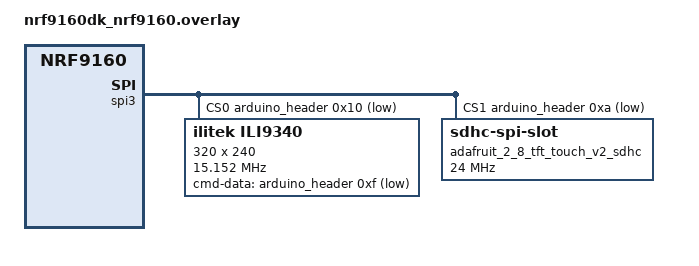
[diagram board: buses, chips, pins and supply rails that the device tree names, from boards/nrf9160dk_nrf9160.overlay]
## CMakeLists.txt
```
cmake_minimum_required(VERSION 3.20.0)
find_package(Zephyr REQUIRED HINTS $ENV{ZEPHYR_BASE})

project(pwm_basic)

target_sources(app PRIVATE src/main.c)
```

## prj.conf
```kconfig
#Logging configurations
CONFIG_LOG=y
CONFIG_PWM_LOG_LEVEL_DBG=y
CONFIG_LOG_PRINTK=y
CONFIG_LOG_MODE_IMMEDIATE=y
CONFIG_STDOUT_CONSOLE=y
CONFIG_PRINTK=y

# PWM and LED configurations
CONFIG_PWM=y
CONFIG_LED=y
CONFIG_LED_PWM=y

# DK library configurations
CONFIG_DK_LIBRARY=y
```

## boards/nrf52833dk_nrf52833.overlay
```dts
/* STEP 1.2 -  Add a pwm_led instance and change the polarity */
/{
    pwmleds {
        compatible = "pwm-leds";
        pwm_led0: pwm_led_0 {
            pwms = <&pwm0 0 PWM_MSEC(20) PWM_POLARITY_NORMAL>;
        };
    };
};

/* STEP 1.3 - Add your own custom pwm0 instance */
&pwm0 {
    status = "okay";
    pinctrl-0 = <&pwm0_custom>;
    pinctrl-1 = <&pwm0_csleep>;
    pinctrl-names = "default", "sleep";
};

/* STEP 1.4 - Configure which pins your custom pwm0 instance should use */
&pinctrl {
    pwm0_custom: pwm0_custom {
        group1 {
            psels = <NRF_PSEL(PWM_OUT0, 0, 13)>;
            nordic,invert;
        };
    };

    pwm0_csleep: pwm0_csleep {
        group1 {
            psels = <NRF_PSEL(PWM_OUT0, 0, 13)>;
            low-power-enable;
        };
    };
};

/* STEP 5.2 - Add the servo device  */
/ {
    servo: servo {
        compatible = "pwm-servo";
        pwms = <&pwm1 0 PWM_MSEC(20) PWM_POLARITY_NORMAL>;
        min-pulse = <PWM_USEC(1000)>;
        max-pulse = <PWM_USEC(2000)>;
    };
};

/* STEP 5.3 - Configure which pins pwm1 should use */
&pwm1 {
    status = "okay";
    pinctrl-0 = <&pwm1_custom_motor>;
    pinctrl-1 = <&pwm1_csleep_motor>;
    pinctrl-names = "default", "sleep";
};

&pinctrl {
    pwm1_custom_motor: pwm1_custom_motor {
        group1 {
            psels = <NRF_PSEL(PWM_OUT0, 0, 3)>;
            nordic,invert;
        };
    };

    pwm1_csleep_motor: pwm1_csleep_motor {
        group1 {
            psels = <NRF_PSEL(PWM_OUT0, 0, 3)>;
            low-power-enable;
        };
    };
};
```

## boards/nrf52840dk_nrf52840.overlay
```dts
/* STEP 1.2 -  Add a pwm_led instance and change the polarity */
/{
    pwmleds {
        compatible = "pwm-leds";
        pwm_led0: pwm_led_0 {
            pwms = <&pwm0 0 PWM_MSEC(20) PWM_POLARITY_NORMAL>;
        };
    };
};

/* STEP 1.3 - Add your own custom pwm0 instance */
&pwm0 {
    status = "okay";
    pinctrl-0 = <&pwm0_custom>;
    pinctrl-1 = <&pwm0_csleep>;
    pinctrl-names = "default", "sleep";
};

/* STEP 1.4 - Configure which pins your custom pwm0 instance should use */
&pinctrl {
    pwm0_custom: pwm0_custom {
        group1 {
            psels = <NRF_PSEL(PWM_OUT0, 0, 13)>;
            nordic,invert;
        };
    };

    pwm0_csleep: pwm0_csleep {
        group1 {
            psels = <NRF_PSEL(PWM_OUT0, 0, 13)>;
            low-power-enable;
        };
    };
};

/* STEP 5.2 - Add the servo device  */
/ {
    servo: servo {
        compatible = "pwm-servo";
        pwms = <&pwm1 0 PWM_MSEC(20) PWM_POLARITY_NORMAL>;
        min-pulse = <PWM_USEC(1000)>;
        max-pulse = <PWM_USEC(2000)>;
    };
};

/* STEP 5.3 - Configure which pins pwm1 should use */
&pwm1 {
    status = "okay";
    pinctrl-0 = <&pwm1_custom_motor>;
    pinctrl-1 = <&pwm1_csleep_motor>;
    pinctrl-names = "default", "sleep";
};

&pinctrl {
    pwm1_custom_motor: pwm1_custom_motor {
        group1 {
            psels = <NRF_PSEL(PWM_OUT0, 0, 3)>;
            nordic,invert;
        };
    };

    pwm1_csleep_motor: pwm1_csleep_motor {
        group1 {
            psels = <NRF_PSEL(PWM_OUT0, 0, 3)>;
            low-power-enable;
        };
    };
};
```

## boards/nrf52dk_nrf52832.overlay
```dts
/* STEP 1.2 -  Add a pwm_led instance and change the polarity */
/{
    pwmleds {
        compatible = "pwm-leds";
        pwm_led0: pwm_led_0 {
            pwms = <&pwm0 0 PWM_MSEC(20) PWM_POLARITY_NORMAL>;
        };
    };
};

/* STEP 1.3 - Add your own custom pwm0 instance */
&pwm0 {
    status = "okay";
    pinctrl-0 = <&pwm0_custom>;
    pinctrl-1 = <&pwm0_csleep>;
    pinctrl-names = "default", "sleep";
};

/* STEP 1.4 - Configure which pins your custom pwm0 instance should use */
/* STEP 4.1 - Configure pwm0 to drive the GPIO pin for LED 1 */
&pinctrl {
    pwm0_custom: pwm0_custom {
        group1 {
            psels = <NRF_PSEL(PWM_OUT0, 0, 17)>;
            nordic,invert;
        };
    };

    pwm0_csleep: pwm0_csleep {
        group1 {
            psels = <NRF_PSEL(PWM_OUT0, 0, 17)>;
            low-power-enable;
        };
    };
};

/* STEP 5.2 - Add the servo device */
/ {
    servo: servo {
        compatible = "pwm-servo";
        pwms = <&pwm1 0 PWM_MSEC(20) PWM_POLARITY_NORMAL>;
        min-pulse = <PWM_USEC(1000)>;
        max-pulse = <PWM_USEC(2000)>;
    };
};

/* STEP 5.3 - Configure which pins pwm1 should use */
&pwm1 {
    status = "okay";
    pinctrl-0 = <&pwm1_custom_motor>;
    pinctrl-1 = <&pwm1_csleep_motor>;
    pinctrl-names = "default", "sleep";
};

&pinctrl {
    pwm1_custom_motor: pwm1_custom_motor {
        group1 {
            psels = <NRF_PSEL(PWM_OUT0, 0, 3)>;
            nordic,invert;
        };
    };

    pwm1_csleep_motor: pwm1_csleep_motor {
        group1 {
            psels = <NRF_PSEL(PWM_OUT0, 0, 3)>;
            low-power-enable;
        };
    };
};
```

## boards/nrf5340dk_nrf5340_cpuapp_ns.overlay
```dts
/* STEP 1.2 -  Add a pwm_led instance and change the polarity */
/{
    pwmleds {
        compatible = "pwm-leds";
        pwm_led0: pwm_led_0 {
            pwms = <&pwm0 0 PWM_MSEC(20) PWM_POLARITY_NORMAL>;
        };
    };
};
  
/* STEP 1.3 - Add your own custom pwm0 instance */
&pwm0 {
    status = "okay";
    pinctrl-0 = <&pwm0_custom>;
    pinctrl-1 = <&pwm0_csleep>;
    pinctrl-names = "default", "sleep";
};

/* STEP 1.4 - Configure which pins your custom pwm0 instance should use */
/* STEP 4.1 - Configure pwm0 to drive the GPIO pin for LED 1 */
&pinctrl {
    pwm0_custom: pwm0_custom {
        group1 {
            psels = <NRF_PSEL(PWM_OUT0, 0, 28)>;
            nordic,invert;
        };
    };

    pwm0_csleep: pwm0_csleep {
        group1 {
            psels = <NRF_PSEL(PWM_OUT0, 0, 28)>;
            low-power-enable;
        };
    };
};

/* STEP 5.2 - Add the servo device */
/ {
    servo: servo {
        compatible = "pwm-servo";
        pwms = <&pwm1 0 PWM_MSEC(20) PWM_POLARITY_NORMAL>;
        min-pulse = <PWM_USEC(1000)>;
        max-pulse = <PWM_USEC(2000)>;
    };
};

/* STEP 5.3 - Configure which pins pwm1 should use */
&pwm1 {
    status = "okay";
    pinctrl-0 = <&pwm1_custom_motor>;
    pinctrl-1 = <&pwm1_csleep_motor>;
    pinctrl-names = "default", "sleep";
};

&pinctrl {
    pwm1_custom_motor: pwm1_custom_motor {
        group1 {
            psels = <NRF_PSEL(PWM_OUT0, 0, 5)>;
            nordic,invert;
        };
    };

    pwm1_csleep_motor: pwm1_csleep_motor {
        group1 {
            psels = <NRF_PSEL(PWM_OUT0, 0, 5)>;
            low-power-enable;
        };
    };
};
```

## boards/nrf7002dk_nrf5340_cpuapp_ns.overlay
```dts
/* STEP 1.4 - Define pwm0_custom and pwm0_sleep */
&pinctrl {
    pwm0_custom: pwm0_custom {
        group1 {
            psels = <NRF_PSEL(PWM_OUT0, 1, 6)>;
            nordic,invert;
        };
    };

    pwm0_csleep: pwm0_csleep {
        group1 {
            psels = <NRF_PSEL(PWM_OUT0, 1, 6)>;
            low-power-enable;
        };
    };
};
/* STEP 1.3 - Add the pwm0 instance */
&pwm0 {
    status = "okay";
    pinctrl-0 = <&pwm0_custom>;
    pinctrl-1 = <&pwm0_csleep>;
    pinctrl-names = "default", "sleep";
};

/{
/* STEP 1.2 -  Add a pwm_led instance and change the polarity */
    pwmleds {
        compatible = "pwm-leds";
        pwm_led0: pwm_led_0 {
            pwms = <&pwm0 0 PWM_MSEC(20) PWM_POLARITY_NORMAL>;
        };
    };
};


/* STEP 5.6 Select what GPIO pwm1 should drive */
&pinctrl {
    pwm1_custom_motor: pwm1_custom_motor {
        group1 {
            psels = <NRF_PSEL(PWM_OUT0, 1, 7)>;
            nordic,invert;
        };
    };

    pwm1_csleep_motor: pwm1_csleep_motor {
        group1 {
            psels = <NRF_PSEL(PWM_OUT0, 1, 7)>;
            low-power-enable;
        };
    };
};

&pwm1 {
    status = "okay";
    pinctrl-0 = <&pwm1_custom_motor>;
    pinctrl-1 = <&pwm1_csleep_motor>;
    pinctrl-names = "default", "sleep";
};

/* STEP 5.5 - Add the servo device 
For the nRF7002DK we will be using LED2 as our "servo motor" due to voltage supply limitations. The DK can only
supply 1.8v while the motor requires a higher voltage. Since the hands on exercise follows the same configurations for all DKs, i.e that 
pwm1 simulates the parameters for the motor, you will only see LED 2 light dimly. You will also have to reconfigure the buttons so that button 1 and 2 toggles the pwm 
connected to pwm0 instead of pwm1 if you wish to see a meaningful change in LED blinking frequency.
*/
/ {
    servo: servo {
        compatible = "pwm-servo";
        pwms = <&pwm1 0 PWM_MSEC(20) PWM_POLARITY_NORMAL>;
        min-pulse = <PWM_USEC(1000)>;
        max-pulse = <PWM_USEC(2000)>;
    };
};
```

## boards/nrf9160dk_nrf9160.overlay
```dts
&spi3{
    compatible = "nordic,nrf-spim";
    #address-cells = < 0x1 >;
    #size-cells = < 0x0 >;
    reg = < 0xb000 0x1000 >;
    interrupts = < 0xb 0x1 >;
    max-frequency = < 0x7a1200 >;
    easydma-maxcnt-bits = < 0xd >;
    status = "okay";
    cs-gpios = < &arduino_header 0x10 0x1 >, < &arduino_header 0xa 0x1 >;
    pinctrl-0 = < &spi3_default >;
    pinctrl-1 = < &spi3_sleep >;
    pinctrl-names = "default", "sleep";
    mx25r64: mx25r6435f@1 {
        compatible = "jedec,spi-nor";
        status = "disabled";
        reg = < 0x1 >;
        spi-max-frequency = < 0x7a1200 >;
        jedec-id = [ C2 28 17 ];
        sfdp-bfp = [ E5 20 F1 FF FF FF FF 03 44 EB 08 6B 08 3B 04 BB EE FF FF FF FF FF 00 FF FF FF 00 FF 0C 20 0F 52 10 D8 00 FF 23 72 F5 00 82 ED 04 CC 44 83 48 44 30 B0 30 B0 F7 C4 D5 5C 00 BE 29 FF F0 D0 FF FF ];
        size = < 0x4000000 >;
        has-dpd;
        t-enter-dpd = < 0x2710 >;
        t-exit-dpd = < 0x88b8 >;
    };
    ili9340: ili9340@0 {
        compatible = "ilitek,ili9340";
        spi-max-frequency = < 0xe7319b >;
        reg = < 0x0 >;
        cmd-data-gpios = < &arduino_header 0xf 0x1 >;
        width = < 0x140 >;
        height = < 0xf0 >;
        pixel-format = < 0x1 >;
        rotation = < 0x5a >;
        frmctr1 = [ 00 18 ];
        pwctrl1 = [ 23 00 ];
        vmctrl1 = [ 3E 28 ];
        vmctrl2 = [ 86 ];
        pgamctrl = [ 0F 31 2B 0C 0E 08 4E F1 37 07 10 03 0E 09 00 ];
        ngamctrl = [ 00 0E 14 03 11 07 31 C1 48 08 0F 0C 31 36 0F ];
    };
    adafruit_2_8_tft_touch_v2_sdhc: sdhc@1 {
        compatible = "zephyr,sdhc-spi-slot";
        reg = < 0x1 >;
        status = "okay";
        spi-max-frequency = < 0x16e3600 >;
        mmc {
            compatible = "zephyr,sdmmc-disk";
            status = "okay";
        };
    };
};

&pinctrl {
    spi3_default{
        group1 {
                psels = <NRF_PSEL(SPIM_SCK, 0, 13)>,
                        <NRF_PSEL(SPIM_MISO, 0, 12)>,
                        <NRF_PSEL(SPIM_MOSI, 0, 11)>;
                        nordic,drive-mode = <NRF_DRIVE_H0H1>;
        };
    };

    spi3_sleep{
        group1 {
                psels = <NRF_PSEL(SPIM_SCK, 0, 13)>,
                        <NRF_PSEL(SPIM_MISO, 0, 12)>,
                        <NRF_PSEL(SPIM_MOSI, 0, 11)>;
                low-power-enable;
        };
    };
};
```

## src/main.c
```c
/*
 * Copyright (c) 2024 Nordic Semiconductor ASA
 *
 * SPDX-License-Identifier: LicenseRef-Nordic-5-Clause
 */
 
#include <zephyr/kernel.h>
#include <zephyr/logging/log.h>
#include <zephyr/device.h>
#include <zephyr/drivers/pwm.h>
#include <dk_buttons_and_leds.h>

LOG_MODULE_REGISTER(Lesson4_Exercise2, LOG_LEVEL_INF);

#define PWM_LED0        DT_ALIAS(pwm_led0)

/* STEP 5.7 - Define the servo motor through its nodelabel */
#define SERVO_MOTOR     DT_NODELABEL(servo) 

static const struct pwm_dt_spec pwm_led0 = PWM_DT_SPEC_GET(PWM_LED0);

/* STEP 5.4 - Retrieve the device structure for the servo motor */
static const struct pwm_dt_spec pwm_servo = PWM_DT_SPEC_GET(DT_NODELABEL(servo));


/* STEP 5.5 - Use DT_PROP() to obtain the minimum and maximum duty cycle */
#define PWM_SERVO_MIN_DUTY_CYCLE    DT_PROP(SERVO_MOTOR, min_pulse)
#define PWM_SERVO_MAX_DUTY_CYCLE    DT_PROP(SERVO_MOTOR, max_pulse)

#define PWM_PERIOD   PWM_MSEC(20)

/* STEP  2.2 - Define minimum and maximum duty cycle */
/* STEP 4.2 - Change the duty cycles for the LED */
#define PWM_MIN_DUTY_CYCLE 20000000
#define PWM_MAX_DUTY_CYCLE 50000000

/* STEP 2.1 - Create a function to set the angle of the motor */
int set_motor_angle(uint32_t duty_cycle_ns)
{
    int err;
    
    err = pwm_set_dt(&pwm_servo, PWM_PERIOD, duty_cycle_ns);
    if (err) {
        LOG_ERR("pwm_set_dt_returned %d", err);
    }
    return err;
}
/* STEP 4.3 - Create a function to set the duty cycle of a PWM LED */
int set_led_blink(uint32_t period, uint32_t duty_cycle_ns){
    int err;
    err = pwm_set_dt(&pwm_led0, period, duty_cycle_ns);
        if (err) {
        LOG_ERR("pwm_set_dt_returned %d", err);
    }
    return err;
}

void button_handler(uint32_t button_state, uint32_t has_changed)
{
    int err = 0;
	if (has_changed & button_state)
	{
		switch (has_changed)
		{
            /* STEP 2.4 - Change motor angle when a button is pressed */
            /* STEP 5.6 - Update the button handler with the new duty cycle */
            case DK_BTN1_MSK:
                LOG_INF("Button 1 pressed");
                err = set_motor_angle(PWM_SERVO_MIN_DUTY_CYCLE);
                break;
            case DK_BTN2_MSK:
                LOG_INF("Button 2 pressed");
                err = set_motor_angle(PWM_SERVO_MAX_DUTY_CYCLE);
                break;
            /* STEP 4.4 - Change LED when a button is pressed */
            case DK_BTN3_MSK:
                LOG_INF("Button 3 pressed");
                err = set_led_blink(2*PWM_PERIOD, PWM_MIN_DUTY_CYCLE);
                break;
            case DK_BTN4_MSK:
                LOG_INF("Button 4 pressed");
                err = set_led_blink(4*PWM_PERIOD, PWM_MAX_DUTY_CYCLE);
                break;
			default:
				break;
		}
        if (err) {
            LOG_ERR("Error: couldn't set duty cycle, err %d", err);
        }
	}
}

int main(void)
{

    int err = 0;
        
    if (dk_buttons_init(button_handler)) {
        LOG_ERR("Failed to initialize the buttons library");
    }

    /* STEP 2.3 - Check if the device is ready and set its initial value */
    if (!pwm_is_ready_dt(&pwm_led0)) {
        LOG_ERR("Error: PWM device %s is not ready", pwm_led0.dev->name);
        return 0;
	}
    err = pwm_set_dt(&pwm_led0, 2*PWM_PERIOD, PWM_MIN_DUTY_CYCLE);
    if (err) {
        LOG_ERR("pwm_set_dt returned %d", err);
        return 0;
    }

    /* STEP 5.7 - Check if the motor device is ready and set its initial value */
    LOG_INF("Setting initial motor");
    if (!pwm_is_ready_dt(&pwm_servo)) {
        LOG_ERR("Error: PWM device %s is not ready", pwm_servo.dev->name);
        return 0;
	}

    err = pwm_set_dt(&pwm_servo, PWM_PERIOD, PWM_SERVO_MIN_DUTY_CYCLE);
    if (err) {
        LOG_ERR("pwm_set_dt returned %d", err);
        return 0;
    }

    return 0;
}
```

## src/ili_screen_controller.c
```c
/*
 * Copyright (c) 2024 Nordic Semiconductor ASA
 *
 * SPDX-License-Identifier: Apache-2.0
 */

#include <zephyr/kernel.h>
#include <zephyr/logging/log.h>

/* STEP 3.1 - Include the header files for SPI, GPIO and devicetree */
#include <zephyr/device.h>
#include <zephyr/devicetree.h>
#include <zephyr/drivers/gpio.h>
#include <zephyr/drivers/spi.h>

/* STEP 3.2 - Include display driver and custom header files */
#include <zephyr/sys/byteorder.h>
#include <zephyr/drivers/display.h>
#include "ili_screen_controller.h"

LOG_MODULE_DECLARE(Lesson4_Exercise2, LOG_LEVEL_INF);

/* Structure for ILI9340 controller configuration*/
enum madctl_cmd_set {CMD_SET_1,	CMD_SET_2,};
struct ili9xxx_quirks {enum madctl_cmd_set cmd_set;};
struct ili_ctrl_config {
	const struct ili9xxx_quirks *quirks;
	struct spi_dt_spec spi;
	struct gpio_dt_spec cmd_data;
	struct gpio_dt_spec reset;
	uint8_t pixel_format;
	uint16_t rotation;
	uint16_t x_resolution;
	uint16_t y_resolution;
	bool inversion;
	const void *regs;
	int (*regs_init_fn)(const struct device *dev);
};

/* Structure for ILI9340 controller data*/
struct ili_ctrl_data {
	uint8_t bytes_per_pixel;
	enum display_pixel_format pixel_format;
	enum display_orientation orientation;
};

/* Function to fill buffer with RBG color */
void fill_buf_24bit(uint32_t color, uint8_t *buf, size_t buf_size)
{
	for (size_t idx = 0; idx < buf_size; idx += 3) {
		*(buf + idx + 0) = color >> 16;
		*(buf + idx + 1) = color >> 8;
		*(buf + idx + 2) = color >> 0;
	}
}

/* Function for Screen SPI Controller to transmit the command and data
 * It takes device pointer, 1-byte command, data pointer and length
 * The function calls underlying GPIO and SPI functions to transfer */
int spi_ctrl_transmit(const struct device *dev, uint8_t cmd, const void *tx_data, size_t tx_len)
{
	int err;
	const struct ili_ctrl_config *config = dev->config;
	
	/* STEP 4.1 - Declare and configure the transmit buffers with command parameters */
	struct spi_buf tx_buf;
	struct spi_buf_set tx_bufs; 

	tx_buf.buf = &cmd;
	tx_buf.len = 1U;
	tx_bufs.buffers = &tx_buf;
	tx_bufs.count = 1U;

	/* STEP 4.2 - Set GPIO pin for Command and write using spi_write_dt() */
	gpio_pin_set_dt(&config->cmd_data, 1); 
	err = spi_write_dt(&config->spi, &tx_bufs);
	if (err < 0) {
		LOG_ERR("spi_ctrl_transmit: Error on %s", config->spi.bus->name);
		return err;
	}

	/* STEP 4.3 - Transmit the data that follows the command, if any. */
	if (tx_data != NULL) {
		tx_buf.buf = (void *)tx_data;
		tx_buf.len = tx_len;
		gpio_pin_set_dt(&config->cmd_data, 0);
		err = spi_write_dt(&config->spi, &tx_bufs);
		if (err < 0) {
			LOG_ERR("spi_ctrl_transmit: Error on %s", config->spi.bus->name);
			return err;
		}		
	}

	return 0;
}

/* Function to set ili controller memory area
 * It takes device pointer, (x,y) coordinates, and (w,h) area parameters
 * w=width h=height x_start=x, x_end=x+w-1, y_end=y+h-1
 * The function calls spi_ctrl_transmit() to transmit command & data */
int ili_ctrl_setmem(const struct device *dev, const uint16_t x, const uint16_t y, \
						   const uint16_t w, const uint16_t h)
{
	int err;
	uint16_t spi_xdata[2];
	uint16_t spi_ydata[2];

	/* Set and transmit column and row starting and ending address */
	spi_xdata[0] = sys_cpu_to_be16(x);
	spi_xdata[1] = sys_cpu_to_be16(x + w - 1U);
	spi_ydata[0] = sys_cpu_to_be16(y);
	spi_ydata[1] = sys_cpu_to_be16(y + h - 1U);

	/* STEP 5 - Call spi_ctrl_transmit() to transmit CASET and PASET commands */
	err = spi_ctrl_transmit(dev, ILI9XXX_CASET, &spi_xdata[0], 4U);	
	if (err < 0) {
		return err;
	}
	err = spi_ctrl_transmit(dev, ILI9XXX_PASET, &spi_ydata[0], 4U);
	if (err < 0) {
		return err;
	}
	return 0;
}

/* Function to write to the screen
 * It takes device pointer, (x,y) starting coordinates, descriptor and buffer
 * It calls ili_ctrl_setmem() to set the active area
 * And then writes buffer into active area memory using spi_ctrl_transmit() */
int screen_write(const struct device *dev, const uint16_t x, const uint16_t y, \
			 const struct display_buffer_descriptor *desc, const void *buf)
{
	int err;
	const uint8_t *data_start_addr = (const uint8_t *)buf;

	const struct ili_ctrl_config *config = dev->config;
	struct ili_ctrl_data *data = dev->data;

	struct spi_buf tx_buf;
	struct spi_buf_set tx_bufs;

	uint16_t write_cnt;
	uint16_t nbr_of_writes;
	uint16_t write_h;

	err = ili_ctrl_setmem(dev, x, y, desc->width, desc->height);
	if (err < 0) {
		return err;
	}

	if (desc->pitch > desc->width) {write_h = 1U; nbr_of_writes = desc->height;}
	else {write_h = desc->height; nbr_of_writes = 1U;}

	/* STEP 6 - Call spi_ctrl_transmit() to send the RAMWR command */
	err = spi_ctrl_transmit(dev, ILI9XXX_RAMWR, data_start_addr,
			     desc->width * data->bytes_per_pixel * write_h);
	if (err < 0) {
		return err;
	}

	tx_bufs.buffers = &tx_buf;
	tx_bufs.count = 1;

	data_start_addr += desc->pitch * data->bytes_per_pixel;
	for (write_cnt = 1U; write_cnt < nbr_of_writes; ++write_cnt) {
		tx_buf.buf = (void *)data_start_addr;
		tx_buf.len = desc->width * data->bytes_per_pixel * write_h;

		err = spi_write_dt(&config->spi, &tx_bufs);
		if (err < 0) {
			return err;
		}

		data_start_addr += desc->pitch * data->bytes_per_pixel;
	}

	return 0;
}
```
